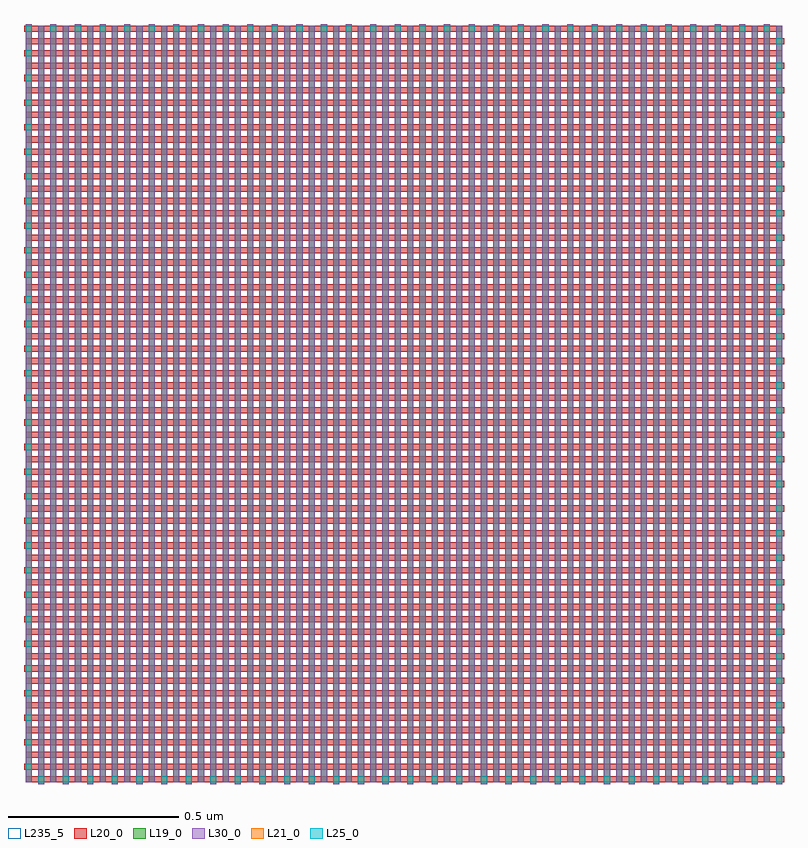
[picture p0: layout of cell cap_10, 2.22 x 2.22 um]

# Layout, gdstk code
import gdstk
lib = gdstk.Library(unit=1e-6, precision=2.5e-10)
def R(c, l, rs):  # rectangles x0, y0, x1, y1
    for r in rs: c.add(gdstk.rectangle(r[:2], r[2:], *l))
def A(c, l, x, y, w, h, nx, ny, dx, dy):  # array of equal rectangles
    R(c, l, [(x+i*dx, y+j*dy, x+i*dx+w, y+j*dy+h) for i in range(nx) for j in range(ny)])
L19_0 = (19, 0)
L20_0 = (20, 0)
L21_0 = (21, 0)
L25_0 = (25, 0)
L30_0 = (30, 0)
L235_5 = (235, 5)

m2_m1_cdns_543864435521 = lib.new_cell('M2_M1_CDNS_543864435521')
R(m2_m1_cdns_543864435521, L19_0, [(-0.009,-0.014,0.009,0.014)])
R(m2_m1_cdns_543864435521, L20_0, [(-0.014,-0.009,0.014,0.009)])
R(m2_m1_cdns_543864435521, L21_0, [(-0.009,-0.009,0.009,0.009)])

m3_m2_cdns_543864435520 = lib.new_cell('M3_M2_CDNS_543864435520')
R(m3_m2_cdns_543864435520, L20_0, [(-0.014,-0.009,0.014,0.009)])
R(m3_m2_cdns_543864435520, L25_0, [(-0.009,-0.009,0.009,0.009)])
R(m3_m2_cdns_543864435520, L30_0, [(-0.009,-0.014,0.009,0.014)])

cap_10 = lib.new_cell('cap_10')
A(cap_10, L19_0, 0, 0, 0.018, 2.214, 62, 1, 0.036, 0)
A(cap_10, L20_0, 0, 0, 2.214, 0.018, 1, 62, 0, 0.036)
A(cap_10, L30_0, 0, 0, 0.018, 2.214, 62, 1, 0.036, 0)
R(cap_10, L235_5, [(0,0,2.214,2.214)])
cap_10.add(gdstk.Reference(m2_m1_cdns_543864435521, (0.009,2.205)))
cap_10.add(gdstk.Reference(m3_m2_cdns_543864435520, (0.009,2.205)))
cap_10.add(gdstk.Reference(m2_m1_cdns_543864435521, (0.045,0.009)))
cap_10.add(gdstk.Reference(m3_m2_cdns_543864435520, (0.045,0.009)))
cap_10.add(gdstk.Reference(m2_m1_cdns_543864435521, (0.081,2.205)))
cap_10.add(gdstk.Reference(m3_m2_cdns_543864435520, (0.081,2.205)))
cap_10.add(gdstk.Reference(m2_m1_cdns_543864435521, (0.117,0.009)))
cap_10.add(gdstk.Reference(m3_m2_cdns_543864435520, (0.117,0.009)))
cap_10.add(gdstk.Reference(m2_m1_cdns_543864435521, (0.153,2.205)))
cap_10.add(gdstk.Reference(m3_m2_cdns_543864435520, (0.153,2.205)))
cap_10.add(gdstk.Reference(m2_m1_cdns_543864435521, (0.189,0.009)))
cap_10.add(gdstk.Reference(m3_m2_cdns_543864435520, (0.189,0.009)))
cap_10.add(gdstk.Reference(m2_m1_cdns_543864435521, (0.225,2.205)))
cap_10.add(gdstk.Reference(m3_m2_cdns_543864435520, (0.225,2.205)))
cap_10.add(gdstk.Reference(m2_m1_cdns_543864435521, (0.261,0.009)))
cap_10.add(gdstk.Reference(m3_m2_cdns_543864435520, (0.261,0.009)))
cap_10.add(gdstk.Reference(m2_m1_cdns_543864435521, (0.297,2.205)))
cap_10.add(gdstk.Reference(m3_m2_cdns_543864435520, (0.297,2.205)))
cap_10.add(gdstk.Reference(m2_m1_cdns_543864435521, (0.333,0.009)))
cap_10.add(gdstk.Reference(m3_m2_cdns_543864435520, (0.333,0.009)))
cap_10.add(gdstk.Reference(m2_m1_cdns_543864435521, (0.369,2.205)))
cap_10.add(gdstk.Reference(m3_m2_cdns_543864435520, (0.369,2.205)))
cap_10.add(gdstk.Reference(m2_m1_cdns_543864435521, (0.405,0.009)))
cap_10.add(gdstk.Reference(m3_m2_cdns_543864435520, (0.405,0.009)))
cap_10.add(gdstk.Reference(m2_m1_cdns_543864435521, (0.441,2.205)))
cap_10.add(gdstk.Reference(m3_m2_cdns_543864435520, (0.441,2.205)))
cap_10.add(gdstk.Reference(m2_m1_cdns_543864435521, (0.477,0.009)))
cap_10.add(gdstk.Reference(m3_m2_cdns_543864435520, (0.477,0.009)))
cap_10.add(gdstk.Reference(m2_m1_cdns_543864435521, (0.513,2.205)))
cap_10.add(gdstk.Reference(m3_m2_cdns_543864435520, (0.513,2.205)))
cap_10.add(gdstk.Reference(m2_m1_cdns_543864435521, (0.549,0.009)))
cap_10.add(gdstk.Reference(m3_m2_cdns_543864435520, (0.549,0.009)))
cap_10.add(gdstk.Reference(m2_m1_cdns_543864435521, (0.585,2.205)))
cap_10.add(gdstk.Reference(m3_m2_cdns_543864435520, (0.585,2.205)))
cap_10.add(gdstk.Reference(m2_m1_cdns_543864435521, (0.621,0.009)))
cap_10.add(gdstk.Reference(m3_m2_cdns_543864435520, (0.621,0.009)))
cap_10.add(gdstk.Reference(m2_m1_cdns_543864435521, (0.657,2.205)))
cap_10.add(gdstk.Reference(m3_m2_cdns_543864435520, (0.657,2.205)))
cap_10.add(gdstk.Reference(m2_m1_cdns_543864435521, (0.693,0.009)))
cap_10.add(gdstk.Reference(m3_m2_cdns_543864435520, (0.693,0.009)))
cap_10.add(gdstk.Reference(m2_m1_cdns_543864435521, (0.729,2.205)))
cap_10.add(gdstk.Reference(m3_m2_cdns_543864435520, (0.729,2.205)))
cap_10.add(gdstk.Reference(m2_m1_cdns_543864435521, (0.765,0.009)))
cap_10.add(gdstk.Reference(m3_m2_cdns_543864435520, (0.765,0.009)))
cap_10.add(gdstk.Reference(m2_m1_cdns_543864435521, (0.801,2.205)))
cap_10.add(gdstk.Reference(m3_m2_cdns_543864435520, (0.801,2.205)))
cap_10.add(gdstk.Reference(m2_m1_cdns_543864435521, (0.837,0.009)))
cap_10.add(gdstk.Reference(m3_m2_cdns_543864435520, (0.837,0.009)))
cap_10.add(gdstk.Reference(m2_m1_cdns_543864435521, (0.873,2.205)))
cap_10.add(gdstk.Reference(m3_m2_cdns_543864435520, (0.873,2.205)))
cap_10.add(gdstk.Reference(m2_m1_cdns_543864435521, (0.909,0.009)))
cap_10.add(gdstk.Reference(m3_m2_cdns_543864435520, (0.909,0.009)))
cap_10.add(gdstk.Reference(m2_m1_cdns_543864435521, (0.945,2.205)))
cap_10.add(gdstk.Reference(m3_m2_cdns_543864435520, (0.945,2.205)))
cap_10.add(gdstk.Reference(m2_m1_cdns_543864435521, (0.981,0.009)))
cap_10.add(gdstk.Reference(m3_m2_cdns_543864435520, (0.981,0.009)))
cap_10.add(gdstk.Reference(m2_m1_cdns_543864435521, (1.017,2.205)))
cap_10.add(gdstk.Reference(m3_m2_cdns_543864435520, (1.017,2.205)))
cap_10.add(gdstk.Reference(m2_m1_cdns_543864435521, (1.053,0.009)))
cap_10.add(gdstk.Reference(m3_m2_cdns_543864435520, (1.053,0.009)))
cap_10.add(gdstk.Reference(m2_m1_cdns_543864435521, (1.089,2.205)))
cap_10.add(gdstk.Reference(m3_m2_cdns_543864435520, (1.089,2.205)))
cap_10.add(gdstk.Reference(m2_m1_cdns_543864435521, (1.125,0.009)))
cap_10.add(gdstk.Reference(m3_m2_cdns_543864435520, (1.125,0.009)))
cap_10.add(gdstk.Reference(m2_m1_cdns_543864435521, (1.161,2.205)))
cap_10.add(gdstk.Reference(m3_m2_cdns_543864435520, (1.161,2.205)))
cap_10.add(gdstk.Reference(m2_m1_cdns_543864435521, (1.197,0.009)))
cap_10.add(gdstk.Reference(m3_m2_cdns_543864435520, (1.197,0.009)))
cap_10.add(gdstk.Reference(m2_m1_cdns_543864435521, (1.233,2.205)))
cap_10.add(gdstk.Reference(m3_m2_cdns_543864435520, (1.233,2.205)))
cap_10.add(gdstk.Reference(m2_m1_cdns_543864435521, (1.269,0.009)))
cap_10.add(gdstk.Reference(m3_m2_cdns_543864435520, (1.269,0.009)))
cap_10.add(gdstk.Reference(m2_m1_cdns_543864435521, (1.305,2.205)))
cap_10.add(gdstk.Reference(m3_m2_cdns_543864435520, (1.305,2.205)))
cap_10.add(gdstk.Reference(m2_m1_cdns_543864435521, (1.341,0.009)))
cap_10.add(gdstk.Reference(m3_m2_cdns_543864435520, (1.341,0.009)))
cap_10.add(gdstk.Reference(m2_m1_cdns_543864435521, (1.377,2.205)))
cap_10.add(gdstk.Reference(m3_m2_cdns_543864435520, (1.377,2.205)))
cap_10.add(gdstk.Reference(m2_m1_cdns_543864435521, (1.413,0.009)))
cap_10.add(gdstk.Reference(m3_m2_cdns_543864435520, (1.413,0.009)))
cap_10.add(gdstk.Reference(m2_m1_cdns_543864435521, (1.449,2.205)))
cap_10.add(gdstk.Reference(m3_m2_cdns_543864435520, (1.449,2.205)))
cap_10.add(gdstk.Reference(m2_m1_cdns_543864435521, (1.485,0.009)))
cap_10.add(gdstk.Reference(m3_m2_cdns_543864435520, (1.485,0.009)))
cap_10.add(gdstk.Reference(m2_m1_cdns_543864435521, (1.521,2.205)))
cap_10.add(gdstk.Reference(m3_m2_cdns_543864435520, (1.521,2.205)))
cap_10.add(gdstk.Reference(m2_m1_cdns_543864435521, (1.557,0.009)))
cap_10.add(gdstk.Reference(m3_m2_cdns_543864435520, (1.557,0.009)))
cap_10.add(gdstk.Reference(m2_m1_cdns_543864435521, (1.593,2.205)))
cap_10.add(gdstk.Reference(m3_m2_cdns_543864435520, (1.593,2.205)))
cap_10.add(gdstk.Reference(m2_m1_cdns_543864435521, (1.629,0.009)))
cap_10.add(gdstk.Reference(m3_m2_cdns_543864435520, (1.629,0.009)))
cap_10.add(gdstk.Reference(m2_m1_cdns_543864435521, (1.665,2.205)))
cap_10.add(gdstk.Reference(m3_m2_cdns_543864435520, (1.665,2.205)))
cap_10.add(gdstk.Reference(m2_m1_cdns_543864435521, (1.701,0.009)))
cap_10.add(gdstk.Reference(m3_m2_cdns_543864435520, (1.701,0.009)))
cap_10.add(gdstk.Reference(m2_m1_cdns_543864435521, (1.737,2.205)))
cap_10.add(gdstk.Reference(m3_m2_cdns_543864435520, (1.737,2.205)))
cap_10.add(gdstk.Reference(m2_m1_cdns_543864435521, (1.773,0.009)))
cap_10.add(gdstk.Reference(m3_m2_cdns_543864435520, (1.773,0.009)))
cap_10.add(gdstk.Reference(m2_m1_cdns_543864435521, (1.809,2.205)))
cap_10.add(gdstk.Reference(m3_m2_cdns_543864435520, (1.809,2.205)))
cap_10.add(gdstk.Reference(m2_m1_cdns_543864435521, (1.845,0.009)))
cap_10.add(gdstk.Reference(m3_m2_cdns_543864435520, (1.845,0.009)))
cap_10.add(gdstk.Reference(m2_m1_cdns_543864435521, (1.881,2.205)))
cap_10.add(gdstk.Reference(m3_m2_cdns_543864435520, (1.881,2.205)))
cap_10.add(gdstk.Reference(m2_m1_cdns_543864435521, (1.917,0.009)))
cap_10.add(gdstk.Reference(m3_m2_cdns_543864435520, (1.917,0.009)))
cap_10.add(gdstk.Reference(m2_m1_cdns_543864435521, (1.953,2.205)))
cap_10.add(gdstk.Reference(m3_m2_cdns_543864435520, (1.953,2.205)))
cap_10.add(gdstk.Reference(m2_m1_cdns_543864435521, (1.989,0.009)))
cap_10.add(gdstk.Reference(m3_m2_cdns_543864435520, (1.989,0.009)))
cap_10.add(gdstk.Reference(m2_m1_cdns_543864435521, (2.025,2.205)))
cap_10.add(gdstk.Reference(m3_m2_cdns_543864435520, (2.025,2.205)))
cap_10.add(gdstk.Reference(m2_m1_cdns_543864435521, (2.061,0.009)))
cap_10.add(gdstk.Reference(m3_m2_cdns_543864435520, (2.061,0.009)))
cap_10.add(gdstk.Reference(m2_m1_cdns_543864435521, (2.097,2.205)))
cap_10.add(gdstk.Reference(m3_m2_cdns_543864435520, (2.097,2.205)))
cap_10.add(gdstk.Reference(m2_m1_cdns_543864435521, (2.133,0.009)))
cap_10.add(gdstk.Reference(m3_m2_cdns_543864435520, (2.133,0.009)))
cap_10.add(gdstk.Reference(m2_m1_cdns_543864435521, (2.169,2.205)))
cap_10.add(gdstk.Reference(m3_m2_cdns_543864435520, (2.169,2.205)))
cap_10.add(gdstk.Reference(m2_m1_cdns_543864435521, (2.205,0.009)))
cap_10.add(gdstk.Reference(m3_m2_cdns_543864435520, (2.205,0.009)))
cap_10.add(gdstk.Reference(m2_m1_cdns_543864435521, (2.205,0.009)))
cap_10.add(gdstk.Reference(m3_m2_cdns_543864435520, (2.205,0.009)))
cap_10.add(gdstk.Reference(m2_m1_cdns_543864435521, (0.009,0.045)))
cap_10.add(gdstk.Reference(m3_m2_cdns_543864435520, (0.009,0.045)))
cap_10.add(gdstk.Reference(m2_m1_cdns_543864435521, (2.205,0.081)))
cap_10.add(gdstk.Reference(m3_m2_cdns_543864435520, (2.205,0.081)))
cap_10.add(gdstk.Reference(m2_m1_cdns_543864435521, (0.009,0.117)))
cap_10.add(gdstk.Reference(m3_m2_cdns_543864435520, (0.009,0.117)))
cap_10.add(gdstk.Reference(m2_m1_cdns_543864435521, (2.205,0.153)))
cap_10.add(gdstk.Reference(m3_m2_cdns_543864435520, (2.205,0.153)))
cap_10.add(gdstk.Reference(m2_m1_cdns_543864435521, (0.009,0.189)))
cap_10.add(gdstk.Reference(m3_m2_cdns_543864435520, (0.009,0.189)))
cap_10.add(gdstk.Reference(m2_m1_cdns_543864435521, (2.205,0.225)))
cap_10.add(gdstk.Reference(m3_m2_cdns_543864435520, (2.205,0.225)))
cap_10.add(gdstk.Reference(m2_m1_cdns_543864435521, (0.009,0.261)))
cap_10.add(gdstk.Reference(m3_m2_cdns_543864435520, (0.009,0.261)))
cap_10.add(gdstk.Reference(m2_m1_cdns_543864435521, (2.205,0.297)))
cap_10.add(gdstk.Reference(m3_m2_cdns_543864435520, (2.205,0.297)))
cap_10.add(gdstk.Reference(m2_m1_cdns_543864435521, (0.009,0.333)))
cap_10.add(gdstk.Reference(m3_m2_cdns_543864435520, (0.009,0.333)))
cap_10.add(gdstk.Reference(m2_m1_cdns_543864435521, (2.205,0.369)))
cap_10.add(gdstk.Reference(m3_m2_cdns_543864435520, (2.205,0.369)))
cap_10.add(gdstk.Reference(m2_m1_cdns_543864435521, (0.009,0.405)))
cap_10.add(gdstk.Reference(m3_m2_cdns_543864435520, (0.009,0.405)))
cap_10.add(gdstk.Reference(m2_m1_cdns_543864435521, (2.205,0.441)))
cap_10.add(gdstk.Reference(m3_m2_cdns_543864435520, (2.205,0.441)))
cap_10.add(gdstk.Reference(m2_m1_cdns_543864435521, (0.009,0.477)))
cap_10.add(gdstk.Reference(m3_m2_cdns_543864435520, (0.009,0.477)))
cap_10.add(gdstk.Reference(m2_m1_cdns_543864435521, (2.205,0.513)))
cap_10.add(gdstk.Reference(m3_m2_cdns_543864435520, (2.205,0.513)))
cap_10.add(gdstk.Reference(m2_m1_cdns_543864435521, (0.009,0.549)))
cap_10.add(gdstk.Reference(m3_m2_cdns_543864435520, (0.009,0.549)))
cap_10.add(gdstk.Reference(m2_m1_cdns_543864435521, (2.205,0.585)))
cap_10.add(gdstk.Reference(m3_m2_cdns_543864435520, (2.205,0.585)))
cap_10.add(gdstk.Reference(m2_m1_cdns_543864435521, (0.009,0.621)))
cap_10.add(gdstk.Reference(m3_m2_cdns_543864435520, (0.009,0.621)))
cap_10.add(gdstk.Reference(m2_m1_cdns_543864435521, (2.205,0.657)))
cap_10.add(gdstk.Reference(m3_m2_cdns_543864435520, (2.205,0.657)))
cap_10.add(gdstk.Reference(m2_m1_cdns_543864435521, (0.009,0.693)))
cap_10.add(gdstk.Reference(m3_m2_cdns_543864435520, (0.009,0.693)))
cap_10.add(gdstk.Reference(m2_m1_cdns_543864435521, (2.205,0.729)))
cap_10.add(gdstk.Reference(m3_m2_cdns_543864435520, (2.205,0.729)))
cap_10.add(gdstk.Reference(m2_m1_cdns_543864435521, (0.009,0.765)))
cap_10.add(gdstk.Reference(m3_m2_cdns_543864435520, (0.009,0.765)))
cap_10.add(gdstk.Reference(m2_m1_cdns_543864435521, (2.205,0.801)))
cap_10.add(gdstk.Reference(m3_m2_cdns_543864435520, (2.205,0.801)))
cap_10.add(gdstk.Reference(m2_m1_cdns_543864435521, (0.009,0.837)))
cap_10.add(gdstk.Reference(m3_m2_cdns_543864435520, (0.009,0.837)))
cap_10.add(gdstk.Reference(m2_m1_cdns_543864435521, (2.205,0.873)))
cap_10.add(gdstk.Reference(m3_m2_cdns_543864435520, (2.205,0.873)))
cap_10.add(gdstk.Reference(m2_m1_cdns_543864435521, (0.009,0.909)))
cap_10.add(gdstk.Reference(m3_m2_cdns_543864435520, (0.009,0.909)))
cap_10.add(gdstk.Reference(m2_m1_cdns_543864435521, (2.205,0.945)))
cap_10.add(gdstk.Reference(m3_m2_cdns_543864435520, (2.205,0.945)))
cap_10.add(gdstk.Reference(m2_m1_cdns_543864435521, (0.009,0.981)))
cap_10.add(gdstk.Reference(m3_m2_cdns_543864435520, (0.009,0.981)))
cap_10.add(gdstk.Reference(m2_m1_cdns_543864435521, (2.205,1.017)))
cap_10.add(gdstk.Reference(m3_m2_cdns_543864435520, (2.205,1.017)))
cap_10.add(gdstk.Reference(m2_m1_cdns_543864435521, (0.009,1.053)))
cap_10.add(gdstk.Reference(m3_m2_cdns_543864435520, (0.009,1.053)))
cap_10.add(gdstk.Reference(m2_m1_cdns_543864435521, (2.205,1.089)))
cap_10.add(gdstk.Reference(m3_m2_cdns_543864435520, (2.205,1.089)))
cap_10.add(gdstk.Reference(m2_m1_cdns_543864435521, (0.009,1.125)))
cap_10.add(gdstk.Reference(m3_m2_cdns_543864435520, (0.009,1.125)))
cap_10.add(gdstk.Reference(m2_m1_cdns_543864435521, (2.205,1.161)))
cap_10.add(gdstk.Reference(m3_m2_cdns_543864435520, (2.205,1.161)))
cap_10.add(gdstk.Reference(m2_m1_cdns_543864435521, (0.009,1.197)))
cap_10.add(gdstk.Reference(m3_m2_cdns_543864435520, (0.009,1.197)))
cap_10.add(gdstk.Reference(m2_m1_cdns_543864435521, (2.205,1.233)))
cap_10.add(gdstk.Reference(m3_m2_cdns_543864435520, (2.205,1.233)))
cap_10.add(gdstk.Reference(m2_m1_cdns_543864435521, (0.009,1.269)))
cap_10.add(gdstk.Reference(m3_m2_cdns_543864435520, (0.009,1.269)))
cap_10.add(gdstk.Reference(m2_m1_cdns_543864435521, (2.205,1.305)))
cap_10.add(gdstk.Reference(m3_m2_cdns_543864435520, (2.205,1.305)))
cap_10.add(gdstk.Reference(m2_m1_cdns_543864435521, (0.009,1.341)))
cap_10.add(gdstk.Reference(m3_m2_cdns_543864435520, (0.009,1.341)))
cap_10.add(gdstk.Reference(m2_m1_cdns_543864435521, (2.205,1.377)))
cap_10.add(gdstk.Reference(m3_m2_cdns_543864435520, (2.205,1.377)))
cap_10.add(gdstk.Reference(m2_m1_cdns_543864435521, (0.009,1.413)))
cap_10.add(gdstk.Reference(m3_m2_cdns_543864435520, (0.009,1.413)))
cap_10.add(gdstk.Reference(m2_m1_cdns_543864435521, (2.205,1.449)))
cap_10.add(gdstk.Reference(m3_m2_cdns_543864435520, (2.205,1.449)))
cap_10.add(gdstk.Reference(m2_m1_cdns_543864435521, (0.009,1.485)))
cap_10.add(gdstk.Reference(m3_m2_cdns_543864435520, (0.009,1.485)))
cap_10.add(gdstk.Reference(m2_m1_cdns_543864435521, (2.205,1.521)))
cap_10.add(gdstk.Reference(m3_m2_cdns_543864435520, (2.205,1.521)))
cap_10.add(gdstk.Reference(m2_m1_cdns_543864435521, (0.009,1.557)))
cap_10.add(gdstk.Reference(m3_m2_cdns_543864435520, (0.009,1.557)))
cap_10.add(gdstk.Reference(m2_m1_cdns_543864435521, (2.205,1.593)))
cap_10.add(gdstk.Reference(m3_m2_cdns_543864435520, (2.205,1.593)))
cap_10.add(gdstk.Reference(m2_m1_cdns_543864435521, (0.009,1.629)))
cap_10.add(gdstk.Reference(m3_m2_cdns_543864435520, (0.009,1.629)))
cap_10.add(gdstk.Reference(m2_m1_cdns_543864435521, (2.205,1.665)))
cap_10.add(gdstk.Reference(m3_m2_cdns_543864435520, (2.205,1.665)))
cap_10.add(gdstk.Reference(m2_m1_cdns_543864435521, (0.009,1.701)))
cap_10.add(gdstk.Reference(m3_m2_cdns_543864435520, (0.009,1.701)))
cap_10.add(gdstk.Reference(m2_m1_cdns_543864435521, (2.205,1.737)))
cap_10.add(gdstk.Reference(m3_m2_cdns_543864435520, (2.205,1.737)))
cap_10.add(gdstk.Reference(m2_m1_cdns_543864435521, (0.009,1.773)))
cap_10.add(gdstk.Reference(m3_m2_cdns_543864435520, (0.009,1.773)))
cap_10.add(gdstk.Reference(m2_m1_cdns_543864435521, (2.205,1.809)))
cap_10.add(gdstk.Reference(m3_m2_cdns_543864435520, (2.205,1.809)))
cap_10.add(gdstk.Reference(m2_m1_cdns_543864435521, (0.009,1.845)))
cap_10.add(gdstk.Reference(m3_m2_cdns_543864435520, (0.009,1.845)))
cap_10.add(gdstk.Reference(m2_m1_cdns_543864435521, (2.205,1.881)))
cap_10.add(gdstk.Reference(m3_m2_cdns_543864435520, (2.205,1.881)))
cap_10.add(gdstk.Reference(m2_m1_cdns_543864435521, (0.009,1.917)))
cap_10.add(gdstk.Reference(m3_m2_cdns_543864435520, (0.009,1.917)))
cap_10.add(gdstk.Reference(m2_m1_cdns_543864435521, (2.205,1.953)))
cap_10.add(gdstk.Reference(m3_m2_cdns_543864435520, (2.205,1.953)))
cap_10.add(gdstk.Reference(m2_m1_cdns_543864435521, (0.009,1.989)))
cap_10.add(gdstk.Reference(m3_m2_cdns_543864435520, (0.009,1.989)))
cap_10.add(gdstk.Reference(m2_m1_cdns_543864435521, (2.205,2.025)))
cap_10.add(gdstk.Reference(m3_m2_cdns_543864435520, (2.205,2.025)))
cap_10.add(gdstk.Reference(m2_m1_cdns_543864435521, (0.009,2.061)))
cap_10.add(gdstk.Reference(m3_m2_cdns_543864435520, (0.009,2.061)))
cap_10.add(gdstk.Reference(m2_m1_cdns_543864435521, (2.205,2.097)))
cap_10.add(gdstk.Reference(m3_m2_cdns_543864435520, (2.205,2.097)))
cap_10.add(gdstk.Reference(m2_m1_cdns_543864435521, (0.009,2.133)))
cap_10.add(gdstk.Reference(m3_m2_cdns_543864435520, (0.009,2.133)))
cap_10.add(gdstk.Reference(m2_m1_cdns_543864435521, (2.205,2.169)))
cap_10.add(gdstk.Reference(m3_m2_cdns_543864435520, (2.205,2.169)))
cap_10.add(gdstk.Reference(m2_m1_cdns_543864435521, (0.009,2.205)))
cap_10.add(gdstk.Reference(m3_m2_cdns_543864435520, (0.009,2.205)))

lib.write_gds('cap_10.gds')
